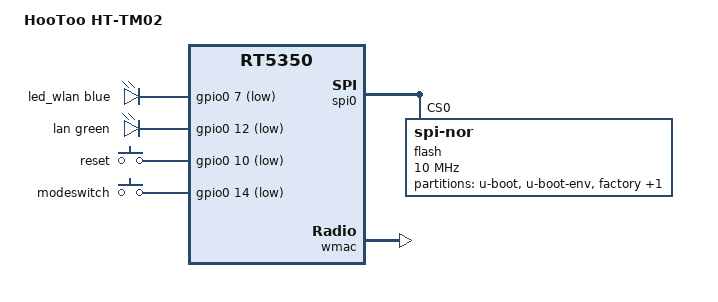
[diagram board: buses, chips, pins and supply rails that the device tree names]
#include "rt5350.dtsi"

#include <dt-bindings/gpio/gpio.h>
#include <dt-bindings/input/input.h>
#include <dt-bindings/leds/common.h>

/ {
	compatible = "hootoo,ht-tm02", "ralink,rt5350-soc";
	model = "HooToo HT-TM02";

	aliases {
		led-boot = &led_wlan;
		led-failsafe = &led_wlan;
		led-running = &led_wlan;
		led-upgrade = &led_wlan;
	};

	leds {
		compatible = "gpio-leds";

		led_wlan: wlan {
			function = LED_FUNCTION_WLAN;
			color = <LED_COLOR_ID_BLUE>;
			gpios = <&gpio0 7 GPIO_ACTIVE_LOW>;
		};

		lan {
			function = LED_FUNCTION_LAN;
			color = <LED_COLOR_ID_GREEN>;
			gpios = <&gpio0 12 GPIO_ACTIVE_LOW>;
		};
	};

	keys {
		compatible = "gpio-keys";

		reset {
			label = "reset";
			gpios = <&gpio0 10 GPIO_ACTIVE_LOW>;
			linux,code = <KEY_RESTART>;
		};

		modeswitch {
			label = "modeswitch";
			gpios = <&gpio0 14 GPIO_ACTIVE_LOW>;
			linux,code = <BTN_0>;
			linux,input-type = <EV_SW>;
		};
	};
};

&spi0 {
	status = "okay";

	flash@0 {
		compatible = "jedec,spi-nor";
		reg = <0>;
		spi-max-frequency = <10000000>;

		partitions {
			compatible = "fixed-partitions";
			#address-cells = <1>;
			#size-cells = <1>;

			partition@0 {
				label = "u-boot";
				reg = <0x0 0x30000>;
				read-only;
			};

			partition@30000 {
				label = "u-boot-env";
				reg = <0x30000 0x10000>;
				read-only;
			};

			partition@40000 {
				label = "factory";
				reg = <0x40000 0x10000>;
				read-only;

				nvmem-layout {
					compatible = "fixed-layout";
					#address-cells = <1>;
					#size-cells = <1>;

					eeprom_factory_0: eeprom@0 {
						reg = <0x0 0x200>;
					};

					macaddr_factory_28: macaddr@28 {
						reg = <0x28 0x6>;
					};
				};
			};

			partition@50000 {
				compatible = "denx,uimage";
				label = "firmware";
				reg = <0x50000 0x7b0000>;
			};
		};
	};
};

&state_default {
	gpio {
		groups = "i2c", "jtag", "uartf";
		function = "gpio";
	};
};

&ethernet {
	nvmem-cells = <&macaddr_factory_28>;
	nvmem-cell-names = "mac-address";
};

&esw {
	mediatek,portmap = <0x10>;
	mediatek,portdisable = <0x2f>;
};

&wmac {
	nvmem-cells = <&eeprom_factory_0>;
	nvmem-cell-names = "eeprom";
};
